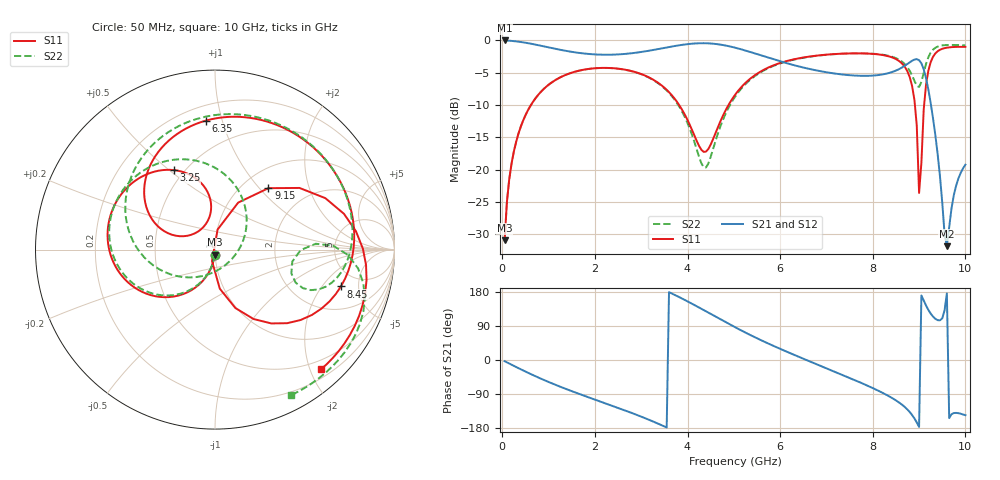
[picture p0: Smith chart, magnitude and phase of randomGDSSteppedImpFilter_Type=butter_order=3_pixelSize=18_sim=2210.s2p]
! freq	dB(S11)	phase(S11)	dB(S12)	phase(S12)
!  dB(S21)	phase(S21)	dB(S22)	phase(S22)
!S-par simulation data
#  GHz  S  DB  R 50
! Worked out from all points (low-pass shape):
!   200 points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, 50 MHz to 10 GHz, reference 50 ohm
!   highest |S21| = -0.01 dB at 50 MHz (marker M1); lowest = -31.8 dB at 9.6 GHz (marker M2)
!   |S21| within 3 dB of the highest: start of sweep to 5.895 GHz; 8.887 GHz to 8.985 GHz (97.62 MHz wide, 1.09 % of centre)
!   lowest |S11| = -31.0 dB at 50 MHz (marker M3), VSWR 1.06, Z = 49.8 - j2.82 ohm
!   |S11| at or under -10 dB: start of sweep to 619 MHz; 3.819 GHz to 4.885 GHz (1.067 GHz wide, 24.5 % of centre); 8.91 GHz to 9.109 GHz (199.4 MHz wide, 2.21 % of centre)
!   |S22| runs from -31.0 to -0.7 dB; largest |S21 - S12| = 0
!   S11 on the Smith chart (normalised r, x): 50 MHz: 1.00, -0.06; 3.25 GHz: 0.44, +0.52; 6.35 GHz: 0.30, +0.89; 8.45 GHz: 3.55, -3.13; 9.15 GHz: 1.30, +1.12; 10 GHz: 0.34, -2.18
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0.05  -30.96 -93.2  -0.01 -3.2  -0.01 -3.2  -30.96 -93.3
0.2  -19.05 -102.7  -0.08 -12.5  -0.08 -12.5  -19.06 -103.2
0.5  -11.59 -120.4  -0.35 -30.5  -0.35 -30.5  -11.59 -121.7
1.75  -4.54 178.6  -2.01 -93.5  -2.01 -93.5  -4.55 173.5
3.25  -6.04 117.4  -1.49 -161.9  -1.49 -161.9  -6.09 99.4
3.4  -6.74 111.3  -1.29 -169.9  -1.29 -169.9  -6.81 90.1
4.35  -17.25 124.6  -0.43 131.7  -0.43 131.7  -19.65 -39.5
5.05  -8.20 154.3  -1.17 84.9  -1.17 84.9  -8.48 -169.9
5.65  -4.53 127.3  -2.46 48.7  -2.46 48.7  -4.64 147.0
6.35  -2.85 94.0  -3.93 11.1  -3.93 11.1  -2.89 106.5
6.7  -2.43 77.5  -4.52 -6.7  -4.52 -6.7  -2.46 87.9
7.7  -2.00 28.6  -5.47 -57.7  -5.47 -57.7  -2.00 36.2
8.35  -2.47 -9.1  -5.05 -95.6  -5.05 -95.6  -2.40 1.3
8.45  -2.72 -16.3  -4.81 -102.7  -4.81 -102.7  -2.61 -4.3
8.85  -7.08 -60.9  -3.14 -145.3  -3.14 -145.3  -5.44 -23.7
8.95  -13.17 -83.0  -2.90 -164.7  -2.90 -164.7  -7.02 -17.4
9  -23.61 -104.7  -3.06 -176.7  -3.06 -176.7  -7.21 -8.7
9.15  -6.87 49.0  -5.84 143.8  -5.84 143.8  -3.63 1.9
9.35  -2.02 7.4  -14.61 108.9  -14.61 108.9  -1.14 -17.9
9.6  -1.12 -20.7  -31.85 175.7  -31.85 175.7  -0.71 -38.2
9.75  -1.02 -32.4  -23.95 -140.0  -23.95 -140.0  -0.70 -48.0
10  -1.00 -48.5  -19.24 -145.6  -19.24 -145.6  -0.77 -62.6
